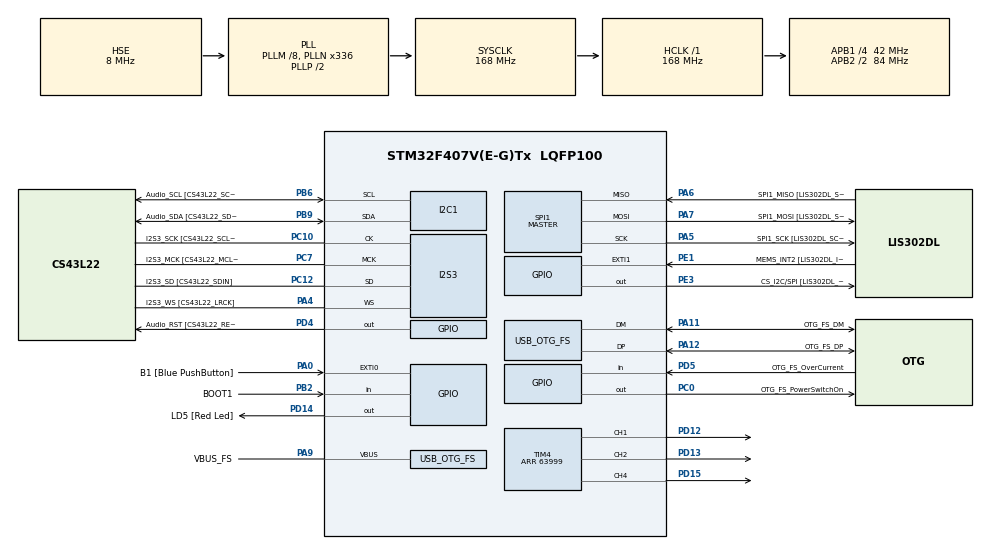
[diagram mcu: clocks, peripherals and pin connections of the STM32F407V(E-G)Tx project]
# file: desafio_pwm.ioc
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I2S3.AudioFreq-Half_Duplex_Master=I2S_AUDIOFREQ_96K
I2S3.ErrorAudioFreq=-2.34 %
I2S3.ErrorAudioFreq-Half_Duplex_Master=0.8 %
I2S3.FullDuplexMode=I2S_FULLDUPLEXMODE_DISABLE
I2S3.Instance=SPI$Index
I2S3.RealAudioFreq=93.75 KHz
I2S3.RealAudioFreq-Half_Duplex_Master=96.774 KHz
I2S3.VirtualMode=I2S_MODE_MASTER
Mcu.Family=STM32F4
Mcu.Name=STM32F407V(E-G)Tx
Mcu.Package=LQFP100
NVIC.OTG_FS_IRQn=true\:0\:0\:false\:false\:true\:true\:true\:true
NVIC.PriorityGroup=NVIC_PRIORITYGROUP_0
PA0-WKUP.GPIO_Label=B1 [Blue PushButton]
PA0-WKUP.GPIO_ModeDefaultEXTI=GPIO_MODE_EVT_RISING
PA0-WKUP.GPIO_PuPd=GPIO_NOPULL
PA0-WKUP.Signal=GPXTI0
PA10.GPIO_Label=OTG_FS_ID
PA10.GPIO_Mode=GPIO_MODE_AF_PP
PA10.GPIO_PuPd=GPIO_NOPULL
PA10.GPIO_Speed=GPIO_SPEED_FREQ_LOW
PA10.Signal=USB_OTG_FS_ID
PA11.GPIO_Label=OTG_FS_DM
PA11.GPIO_Mode=GPIO_MODE_AF_PP
PA11.GPIO_PuPd=GPIO_NOPULL
PA11.GPIO_Speed=GPIO_SPEED_FREQ_LOW
PA11.Mode=Host_Only
PA11.Signal=USB_OTG_FS_DM
PA12.GPIO_Label=OTG_FS_DP
PA12.GPIO_Mode=GPIO_MODE_AF_PP
PA12.GPIO_PuPd=GPIO_NOPULL
PA12.GPIO_Speed=GPIO_SPEED_FREQ_LOW
PA12.Mode=Host_Only
PA12.Signal=USB_OTG_FS_DP
PA13.GPIO_Label=SWDIO
PA13.Mode=Serial_Wire
PA13.Signal=SYS_JTMS-SWDIO
PA14.GPIO_Label=SWCLK
PA14.Mode=Serial_Wire
PA14.Signal=SYS_JTCK-SWCLK
PA4.GPIO_Label=I2S3_WS [CS43L22_LRCK]
PA4.GPIO_Mode=GPIO_MODE_AF_PP
PA4.GPIO_PuPd=GPIO_NOPULL
PA4.GPIO_Speed=GPIO_SPEED_FREQ_LOW
PA4.Mode=Half_Duplex_Master
PA4.Signal=I2S3_WS
PA5.GPIO_Label=SPI1_SCK [LIS302DL_SCL/SPC]
PA5.GPIO_Mode=GPIO_MODE_AF_PP
PA5.GPIO_PuPd=GPIO_NOPULL
PA5.GPIO_Speed=GPIO_SPEED_FREQ_LOW
PA5.Mode=Full_Duplex_Master
PA5.Signal=SPI1_SCK
PA6.GPIO_Label=SPI1_MISO [LIS302DL_SDO]
PA6.GPIO_Mode=GPIO_MODE_AF_PP
PA6.GPIO_PuPd=GPIO_NOPULL
PA6.GPIO_Speed=GPIO_SPEED_FREQ_LOW
PA6.Mode=Full_Duplex_Master
PA6.Signal=SPI1_MISO
PA7.GPIO_Label=SPI1_MOSI [LIS302DL_SDA/SDI/SDO]
PA7.GPIO_Mode=GPIO_MODE_AF_PP
PA7.GPIO_PuPd=GPIO_NOPULL
PA7.GPIO_Speed=GPIO_SPEED_FREQ_LOW
PA7.Mode=Full_Duplex_Master
PA7.Signal=SPI1_MOSI
PA9.GPIO_Label=VBUS_FS
PA9.GPIO_Mode=GPIO_MODE_INPUT
PA9.GPIO_PuPd=GPIO_NOPULL
PA9.Mode=Activate_VBUS
PA9.Signal=USB_OTG_FS_VBUS
PB10.GPIO_Label=CLK_IN [MP45DT02_CLK]
PB10.GPIO_Mode=GPIO_MODE_AF_PP
PB10.GPIO_PuPd=GPIO_NOPULL
PB10.GPIO_Speed=GPIO_SPEED_FREQ_LOW
PB10.Signal=I2S2_CK
PB2.GPIO_Label=BOOT1
PB2.GPIO_Mode=GPIO_MODE_INPUT
PB2.GPIO_PuPd=GPIO_NOPULL
PB2.Signal=GPIO_Input
PB3.GPIO_Label=SWO
PB3.Signal=SYS_JTDO-SWO
PB6.GPIO_Label=Audio_SCL [CS43L22_SCL]
PB6.GPIO_Mode=GPIO_MODE_AF_OD
PB6.GPIO_Pu=GPIO_PULLUP
PB6.GPIO_PuPd=GPIO_NOPULL
PB6.GPIO_Speed=GPIO_SPEED_FREQ_LOW
PB6.Mode=I2C
PB6.Signal=I2C1_SCL
PB9.GPIO_Label=Audio_SDA [CS43L22_SDA]
PB9.GPIO_Mode=GPIO_MODE_AF_OD
PB9.GPIO_Pu=GPIO_PULLUP
PB9.GPIO_PuPd=GPIO_NOPULL
PB9.GPIO_Speed=GPIO_SPEED_FREQ_LOW
PB9.Mode=I2C
PB9.Signal=I2C1_SDA
PC0.GPIO_Label=OTG_FS_PowerSwitchOn
PC0.GPIO_PuPd=GPIO_NOPULL
PC0.GPIO_Speed=GPIO_SPEED_FREQ_LOW
PC0.PinState=GPIO_PIN_SET
PC0.Signal=GPIO_Output
PC10.GPIO_Label=I2S3_SCK [CS43L22_SCLK]
PC10.GPIO_Mode=GPIO_MODE_AF_PP
PC10.GPIO_PuPd=GPIO_NOPULL
PC10.GPIO_Speed=GPIO_SPEED_FREQ_LOW
PC10.Mode=Half_Duplex_Master
PC10.Signal=I2S3_CK
PC12.GPIO_Label=I2S3_SD [CS43L22_SDIN]
PC12.GPIO_Mode=GPIO_MODE_AF_PP
PC12.GPIO_PuPd=GPIO_NOPULL
PC12.GPIO_Speed=GPIO_SPEED_FREQ_LOW
PC12.Mode=Half_Duplex_Master
PC12.Signal=I2S3_SD
PC14-OSC32_IN.GPIO_Label=PC14-OSC32_IN
PC14-OSC32_IN.Mode=LSE-External-Oscillator
PC14-OSC32_IN.Signal=RCC_OSC32_IN
PC15-OSC32_OUT.GPIO_Label=PC15-OSC32_OUT
PC15-OSC32_OUT.Mode=LSE-External-Oscillator
PC15-OSC32_OUT.Signal=RCC_OSC32_OUT
PC3.GPIO_Label=PDM_OUT [MP45DT02_DOUT]
PC3.GPIO_Mode=GPIO_MODE_AF_PP
PC3.GPIO_PuPd=GPIO_NOPULL
PC3.GPIO_Speed=GPIO_SPEED_FREQ_LOW
PC3.Signal=I2S2_SD
PC7.GPIO_Label=I2S3_MCK [CS43L22_MCLK]
PC7.GPIO_Mode=GPIO_MODE_AF_PP
PC7.GPIO_PuPd=GPIO_NOPULL
PC7.GPIO_Speed=GPIO_SPEED_FREQ_LOW
PC7.Mode=Master_Clock_Activated
PC7.Signal=I2S3_MCK
PD12.Signal=S_TIM4_CH1
PD13.Signal=S_TIM4_CH2
PD14.GPIO_Label=LD5 [Red Led]
PD14.GPIO_PuPd=GPIO_NOPULL
PD14.GPIO_Speed=GPIO_SPEED_FREQ_LOW
PD14.Signal=GPIO_Output
PD15.Signal=S_TIM4_CH4
PD4.GPIO_Label=Audio_RST [CS43L22_RESET]
PD4.GPIO_PuPd=GPIO_NOPULL
PD4.GPIO_Speed=GPIO_SPEED_FREQ_LOW
PD4.Signal=GPIO_Output
PD5.GPIO_Label=OTG_FS_OverCurrent
PD5.GPIO_Mode=GPIO_MODE_INPUT
PD5.GPIO_PuPd=GPIO_NOPULL
PD5.Signal=GPIO_Input
PE1.GPIO_Label=MEMS_INT2 [LIS302DL_INT2]
PE1.GPIO_ModeDefaultEXTI=GPIO_MODE_EVT_RISING
PE1.GPIO_PuPd=GPIO_NOPULL
PE1.Signal=GPXTI1
PE3.GPIO_Label=CS_I2C/SPI [LIS302DL_CS_I2C/SPI]
PE3.GPIO_PuPd=GPIO_NOPULL
PE3.GPIO_Speed=GPIO_SPEED_FREQ_LOW
PE3.Signal=GPIO_Output
PH0-OSC_IN.GPIO_Label=PH0-OSC_IN
PH0-OSC_IN.Mode=HSE-External-Oscillator
PH0-OSC_IN.Signal=RCC_OSC_IN
PH1-OSC_OUT.GPIO_Label=PH1-OSC_OUT
PH1-OSC_OUT.Mode=HSE-External-Oscillator
PH1-OSC_OUT.Signal=RCC_OSC_OUT
ProjectManager.HeapSize=0x200
ProjectManager.StackSize=0x400
ProjectManager.TargetToolchain=STM32CubeIDE
RCC.48MHZClocksFreq_Value=48000000
RCC.AHBFreq_Value=168000000
RCC.APB1CLKDivider=RCC_HCLK_DIV4
RCC.APB1Freq_Value=42000000
RCC.APB1TimFreq_Value=84000000
RCC.APB2CLKDivider=RCC_HCLK_DIV2
RCC.APB2Freq_Value=84000000
RCC.APB2TimFreq_Value=168000000
RCC.CortexFreq_Value=168000000
RCC.HCLKFreq_Value=168000000
RCC.HSE_VALUE=8000000
RCC.HSI_VALUE=16000000
RCC.PLLM=8
RCC.PLLN=336
RCC.PLLQ=7
RCC.SYSCLKFreq_VALUE=168000000
RCC.SYSCLKSource=RCC_SYSCLKSOURCE_PLLCLK
RCC.VCOOutputFreq_Value=336000000
SH.S_TIM4_CH1.0=TIM4_CH1,PWM Generation1 CH1
SH.S_TIM4_CH2.0=TIM4_CH2,PWM Generation2 CH2
SH.S_TIM4_CH4.0=TIM4_CH4,PWM Generation4 CH4
SPI1.BaudRatePrescaler-Full_Duplex_Master=SPI_BAUDRATEPRESCALER_2
SPI1.CalculateBaudRate-Full_Duplex_Master=42.0 MBits/s
SPI1.Direction=SPI_DIRECTION_2LINES
SPI1.Mode=SPI_MODE_MASTER
SPI1.Mode-Full_Duplex_Master=SPI_MODE_MASTER
SPI1.VirtualType=VM_MASTER
TIM4.Channel-PWM\ Generation1\ CH1=TIM_CHANNEL_1
TIM4.Channel-PWM\ Generation2\ CH2=TIM_CHANNEL_2
TIM4.Channel-PWM\ Generation4\ CH4=TIM_CHANNEL_4
TIM4.Period=63999
USB_HOST.BSP.number=1
USB_HOST.USBH_HandleTypeDef-CDC_FS=hUsbHostFS
USB_HOST.VirtualModeFS=Cdc
USB_HOST0.BSP.STBoard=false
USB_HOST0.BSP.api=Unknown
USB_HOST0.BSP.instance=PC0
USB_HOST0.BSP.ip=GPIO
USB_HOST0.BSP.mode=Output
USB_HOST0.BSP.name=Drive_VBUS_FS
USB_HOST0.BSP.solution=PC0
USB_OTG_FS.VirtualMode=Host_Only
USB_OTG_FS.phy_itface=HCD_PHY_EMBEDDED
VP_TIM4_VS_ClockSourceINT.Mode=Internal
VP_USB_HOST_VS_USB_HOST_CDC_FS.Mode=CDC_FS
board=STM32F407G-DISC1

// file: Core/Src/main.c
/* USER CODE BEGIN Header */
/**
 ******************************************************************************
 * @file           : main.c
 * @brief          : Main program body
 ******************************************************************************
 * @attention
 *
 * Copyright (c) 2025 STMicroelectronics.
 * All rights reserved.
 *
 * This software is licensed under terms that can be found in the LICENSE file
 * in the root directory of this software component.
 * If no LICENSE file comes with this software, it is provided AS-IS.
 *
 ******************************************************************************
 */
/* USER CODE END Header */
#include "main.h"
#include "usb_host.h"

/* USER CODE BEGIN PD */
#define TCAMBIO                                                                \
  20 // Tiempo en ms entre cambios de los ciclos de trabajo de las señales PWM
// Al definir TCAMBIO como 20 ms, se obtiene una duración total de 2 segundos
// para una transición completa(100 × 20 ms = 2 s)
#define VALCAMBIO                                                              \
  640 // Valor (1% en LSB de resolución de PWM) para los cambios de los ciclos
      // de trabajo
// pues resolución configurada para las señales PWM es de 64 000

/* USER CODE END PD */

I2C_HandleTypeDef hi2c1;

I2S_HandleTypeDef hi2s3;

SPI_HandleTypeDef hspi1;

TIM_HandleTypeDef htim4;

void SystemClock_Config(void);
static void MX_GPIO_Init(void);
static void MX_I2C1_Init(void);
static void MX_I2S3_Init(void);
static void MX_SPI1_Init(void);
static void MX_TIM4_Init(void);
void MX_USB_HOST_Process(void);

/* USER CODE BEGIN PFP */
// ACA LOS PROTOTIPOS
void inicio(void);
void transicion1(void);
void transicion2(void);
void transicion3(void);
void transicion4(void);
void transicion5(void);
void transicion6(void);

/* USER CODE END PFP */

int main(void) {

  /* MCU Configuration--------------------------------------------------------*/

  /* Reset of all peripherals, Initializes the Flash interface and the Systick.
   */
  HAL_Init();

  /* Configure the system clock */
  SystemClock_Config();

  /* Initialize all configured peripherals */
  MX_GPIO_Init();
  MX_I2C1_Init();
  MX_I2S3_Init();
  MX_SPI1_Init();
  MX_USB_HOST_Init();
  MX_TIM4_Init();
  /* USER CODE BEGIN 2 */
  // CONDICIONES INICIALES
  inicio(); // (amarillo al 100%)

  /* USER CODE END 2 */

  /* Infinite loop */
  while (1) {
    MX_USB_HOST_Process();

    /* USER CODE BEGIN 3 */
    transicion1(); // Aumenta rojo a 100%
    transicion2(); // Disminuye amarillo a 0%
    transicion3(); // Aumenta verde a 100%
    transicion4(); // Disminuye rojo a 0%
    transicion5(); // Aumenta amarillo a 100%
    transicion6(); // Disminuye verde a 0%
  }
  /* USER CODE END 3 */
}

void SystemClock_Config(void) {
  RCC_OscInitTypeDef RCC_OscInitStruct = {0};
  RCC_ClkInitTypeDef RCC_ClkInitStruct = {0};

  /** Configure the main internal regulator output voltage
   */
  __HAL_RCC_PWR_CLK_ENABLE();
  __HAL_PWR_VOLTAGESCALING_CONFIG(PWR_REGULATOR_VOLTAGE_SCALE1);

  /** Initializes the RCC Oscillators according to the specified parameters
   * in the RCC_OscInitTypeDef structure.
   */
  RCC_OscInitStruct.OscillatorType = RCC_OSCILLATORTYPE_HSE;
  RCC_OscInitStruct.HSEState = RCC_HSE_ON;
  RCC_OscInitStruct.PLL.PLLState = RCC_PLL_ON;
  RCC_OscInitStruct.PLL.PLLSource = RCC_PLLSOURCE_HSE;
  RCC_OscInitStruct.PLL.PLLM = 8;
  RCC_OscInitStruct.PLL.PLLN = 336;
  RCC_OscInitStruct.PLL.PLLP = RCC_PLLP_DIV2;
  RCC_OscInitStruct.PLL.PLLQ = 7;
  if (HAL_RCC_OscConfig(&RCC_OscInitStruct) != HAL_OK) {
    Error_Handler();
  }

  /** Initializes the CPU, AHB and APB buses clocks
   */
  RCC_ClkInitStruct.ClockType = RCC_CLOCKTYPE_HCLK | RCC_CLOCKTYPE_SYSCLK |
                                RCC_CLOCKTYPE_PCLK1 | RCC_CLOCKTYPE_PCLK2;
  RCC_ClkInitStruct.SYSCLKSource = RCC_SYSCLKSOURCE_PLLCLK;
  RCC_ClkInitStruct.AHBCLKDivider = RCC_SYSCLK_DIV1;
  RCC_ClkInitStruct.APB1CLKDivider = RCC_HCLK_DIV4;
  RCC_ClkInitStruct.APB2CLKDivider = RCC_HCLK_DIV2;

  if (HAL_RCC_ClockConfig(&RCC_ClkInitStruct, FLASH_LATENCY_5) != HAL_OK) {
    Error_Handler();
  }
}

static void MX_I2C1_Init(void) {

  hi2c1.Instance = I2C1;
  hi2c1.Init.ClockSpeed = 100000;
  hi2c1.Init.DutyCycle = I2C_DUTYCYCLE_2;
  hi2c1.Init.OwnAddress1 = 0;
  hi2c1.Init.AddressingMode = I2C_ADDRESSINGMODE_7BIT;
  hi2c1.Init.DualAddressMode = I2C_DUALADDRESS_DISABLE;
  hi2c1.Init.OwnAddress2 = 0;
  hi2c1.Init.GeneralCallMode = I2C_GENERALCALL_DISABLE;
  hi2c1.Init.NoStretchMode = I2C_NOSTRETCH_DISABLE;
  if (HAL_I2C_Init(&hi2c1) != HAL_OK) {
    Error_Handler();
  }
}

static void MX_I2S3_Init(void) {

  hi2s3.Instance = SPI3;
  hi2s3.Init.Mode = I2S_MODE_MASTER_TX;
  hi2s3.Init.Standard = I2S_STANDARD_PHILIPS;
  hi2s3.Init.DataFormat = I2S_DATAFORMAT_16B;
  hi2s3.Init.MCLKOutput = I2S_MCLKOUTPUT_ENABLE;
  hi2s3.Init.AudioFreq = I2S_AUDIOFREQ_96K;
  hi2s3.Init.CPOL = I2S_CPOL_LOW;
  hi2s3.Init.ClockSource = I2S_CLOCK_PLL;
  hi2s3.Init.FullDuplexMode = I2S_FULLDUPLEXMODE_DISABLE;
  if (HAL_I2S_Init(&hi2s3) != HAL_OK) {
    Error_Handler();
  }
}

static void MX_SPI1_Init(void) {

  /* SPI1 parameter configuration*/
  hspi1.Instance = SPI1;
  hspi1.Init.Mode = SPI_MODE_MASTER;
  hspi1.Init.Direction = SPI_DIRECTION_2LINES;
  hspi1.Init.DataSize = SPI_DATASIZE_8BIT;
  hspi1.Init.CLKPolarity = SPI_POLARITY_LOW;
  hspi1.Init.CLKPhase = SPI_PHASE_1EDGE;
  hspi1.Init.NSS = SPI_NSS_SOFT;
  hspi1.Init.BaudRatePrescaler = SPI_BAUDRATEPRESCALER_2;
  hspi1.Init.FirstBit = SPI_FIRSTBIT_MSB;
  hspi1.Init.TIMode = SPI_TIMODE_DISABLE;
  hspi1.Init.CRCCalculation = SPI_CRCCALCULATION_DISABLE;
  hspi1.Init.CRCPolynomial = 10;
  if (HAL_SPI_Init(&hspi1) != HAL_OK) {
    Error_Handler();
  }
}

static void MX_TIM4_Init(void) {

  TIM_ClockConfigTypeDef sClockSourceConfig = {0};
  TIM_MasterConfigTypeDef sMasterConfig = {0};
  TIM_OC_InitTypeDef sConfigOC = {0};

  htim4.Instance = TIM4;
  htim4.Init.Prescaler = 0;
  htim4.Init.CounterMode = TIM_COUNTERMODE_UP;
  htim4.Init.Period = 63999;
  htim4.Init.ClockDivision = TIM_CLOCKDIVISION_DIV1;
  htim4.Init.AutoReloadPreload = TIM_AUTORELOAD_PRELOAD_DISABLE;
  if (HAL_TIM_Base_Init(&htim4) != HAL_OK) {
    Error_Handler();
  }
  sClockSourceConfig.ClockSource = TIM_CLOCKSOURCE_INTERNAL;
  if (HAL_TIM_ConfigClockSource(&htim4, &sClockSourceConfig) != HAL_OK) {
    Error_Handler();
  }
  if (HAL_TIM_PWM_Init(&htim4) != HAL_OK) {
    Error_Handler();
  }
  sMasterConfig.MasterOutputTrigger = TIM_TRGO_RESET;
  sMasterConfig.MasterSlaveMode = TIM_MASTERSLAVEMODE_DISABLE;
  if (HAL_TIMEx_MasterConfigSynchronization(&htim4, &sMasterConfig) != HAL_OK) {
    Error_Handler();
  }
  sConfigOC.OCMode = TIM_OCMODE_PWM1;
  sConfigOC.Pulse = 0;
  sConfigOC.OCPolarity = TIM_OCPOLARITY_HIGH;
  sConfigOC.OCFastMode = TIM_OCFAST_DISABLE;
  if (HAL_TIM_PWM_ConfigChannel(&htim4, &sConfigOC, TIM_CHANNEL_1) != HAL_OK) {
    Error_Handler();
  }
  if (HAL_TIM_PWM_ConfigChannel(&htim4, &sConfigOC, TIM_CHANNEL_2) != HAL_OK) {
    Error_Handler();
  }
  if (HAL_TIM_PWM_ConfigChannel(&htim4, &sConfigOC, TIM_CHANNEL_4) != HAL_OK) {
    Error_Handler();
  }
  HAL_TIM_MspPostInit(&htim4);
}

static void MX_GPIO_Init(void) {
  GPIO_InitTypeDef GPIO_InitStruct = {0};

  /* GPIO Ports Clock Enable */
  __HAL_RCC_GPIOE_CLK_ENABLE();
  __HAL_RCC_GPIOC_CLK_ENABLE();
  __HAL_RCC_GPIOH_CLK_ENABLE();
  __HAL_RCC_GPIOA_CLK_ENABLE();
  __HAL_RCC_GPIOB_CLK_ENABLE();
  __HAL_RCC_GPIOD_CLK_ENABLE();

  /*Configure GPIO pin Output Level */
  HAL_GPIO_WritePin(CS_I2C_SPI_GPIO_Port, CS_I2C_SPI_Pin, GPIO_PIN_RESET);

  /*Configure GPIO pin Output Level */
  HAL_GPIO_WritePin(OTG_FS_PowerSwitchOn_GPIO_Port, OTG_FS_PowerSwitchOn_Pin,
                    GPIO_PIN_SET);

  /*Configure GPIO pin Output Level */
  HAL_GPIO_WritePin(GPIOD, LD5_Pin | Audio_RST_Pin, GPIO_PIN_RESET);

  /*Configure GPIO pin : CS_I2C_SPI_Pin */
  GPIO_InitStruct.Pin = CS_I2C_SPI_Pin;
  GPIO_InitStruct.Mode = GPIO_MODE_OUTPUT_PP;
  GPIO_InitStruct.Pull = GPIO_NOPULL;
  GPIO_InitStruct.Speed = GPIO_SPEED_FREQ_LOW;
  HAL_GPIO_Init(CS_I2C_SPI_GPIO_Port, &GPIO_InitStruct);

  /*Configure GPIO pin : OTG_FS_PowerSwitchOn_Pin */
  GPIO_InitStruct.Pin = OTG_FS_PowerSwitchOn_Pin;
  GPIO_InitStruct.Mode = GPIO_MODE_OUTPUT_PP;
  GPIO_InitStruct.Pull = GPIO_NOPULL;
  GPIO_InitStruct.Speed = GPIO_SPEED_FREQ_LOW;
  HAL_GPIO_Init(OTG_FS_PowerSwitchOn_GPIO_Port, &GPIO_InitStruct);

  /*Configure GPIO pin : PDM_OUT_Pin */
  GPIO_InitStruct.Pin = PDM_OUT_Pin;
  GPIO_InitStruct.Mode = GPIO_MODE_AF_PP;
  GPIO_InitStruct.Pull = GPIO_NOPULL;
  GPIO_InitStruct.Speed = GPIO_SPEED_FREQ_LOW;
  GPIO_InitStruct.Alternate = GPIO_AF5_SPI2;
  HAL_GPIO_Init(PDM_OUT_GPIO_Port, &GPIO_InitStruct);

  /*Configure GPIO pin : B1_Pin */
  GPIO_InitStruct.Pin = B1_Pin;
  GPIO_InitStruct.Mode = GPIO_MODE_EVT_RISING;
  GPIO_InitStruct.Pull = GPIO_NOPULL;
  HAL_GPIO_Init(B1_GPIO_Port, &GPIO_InitStruct);

  /*Configure GPIO pin : BOOT1_Pin */
  GPIO_InitStruct.Pin = BOOT1_Pin;
  GPIO_InitStruct.Mode = GPIO_MODE_INPUT;
  GPIO_InitStruct.Pull = GPIO_NOPULL;
  HAL_GPIO_Init(BOOT1_GPIO_Port, &GPIO_InitStruct);

  /*Configure GPIO pin : CLK_IN_Pin */
  GPIO_InitStruct.Pin = CLK_IN_Pin;
  GPIO_InitStruct.Mode = GPIO_MODE_AF_PP;
  GPIO_InitStruct.Pull = GPIO_NOPULL;
  GPIO_InitStruct.Speed = GPIO_SPEED_FREQ_LOW;
  GPIO_InitStruct.Alternate = GPIO_AF5_SPI2;
  HAL_GPIO_Init(CLK_IN_GPIO_Port, &GPIO_InitStruct);

  /*Configure GPIO pins : LD5_Pin Audio_RST_Pin */
  GPIO_InitStruct.Pin = LD5_Pin | Audio_RST_Pin;
  GPIO_InitStruct.Mode = GPIO_MODE_OUTPUT_PP;
  GPIO_InitStruct.Pull = GPIO_NOPULL;
  GPIO_InitStruct.Speed = GPIO_SPEED_FREQ_LOW;
  HAL_GPIO_Init(GPIOD, &GPIO_InitStruct);

  /*Configure GPIO pin : OTG_FS_OverCurrent_Pin */
  GPIO_InitStruct.Pin = OTG_FS_OverCurrent_Pin;
  GPIO_InitStruct.Mode = GPIO_MODE_INPUT;
  GPIO_InitStruct.Pull = GPIO_NOPULL;
  HAL_GPIO_Init(OTG_FS_OverCurrent_GPIO_Port, &GPIO_InitStruct);

  /*Configure GPIO pin : MEMS_INT2_Pin */
  GPIO_InitStruct.Pin = MEMS_INT2_Pin;
  GPIO_InitStruct.Mode = GPIO_MODE_EVT_RISING;
  GPIO_InitStruct.Pull = GPIO_NOPULL;
  HAL_GPIO_Init(MEMS_INT2_GPIO_Port, &GPIO_InitStruct);

}

/* USER CODE BEGIN 4 */

/*------------- Inicio -------------*/
void inicio(void) {
  // Obtenemos el valor máximo de ciclo de trabajo
  uint16_t ciclomaximo = TIM4->ARR;

  // Iniciamos con LED amarillo al 100%
  TIM4->CCR4 = ciclomaximo; // LED amarillo al 100%

  // Arrancamos los PWM
  HAL_TIM_PWM_Start(&htim4, TIM_CHANNEL_1); // Verde
  HAL_TIM_PWM_Start(&htim4, TIM_CHANNEL_2); // Rojo
  HAL_TIM_PWM_Start(&htim4, TIM_CHANNEL_4); // Amarillo
}

/*------------- Transición 1: Aumenta rojo a 100% -------------*/
void transicion1(void) {
  uint16_t ciclomaximo = TIM4->ARR;
  uint16_t ciclorojo = TIM4->CCR2;

  do {
    HAL_Delay(TCAMBIO);
    ciclorojo = (ciclomaximo - ciclorojo > VALCAMBIO) ? ciclorojo + VALCAMBIO
                                                      : ciclomaximo;
    TIM4->CCR2 = ciclorojo;
  } while (ciclorojo < ciclomaximo);
}

/*------------- Transición 2: Disminuye amarillo a 0% -------------*/
void transicion2(void) {
  uint16_t cicloamarillo = TIM4->CCR4;

  do {
    HAL_Delay(TCAMBIO);
    cicloamarillo = (cicloamarillo > VALCAMBIO) ? cicloamarillo - VALCAMBIO : 0;
    TIM4->CCR4 = cicloamarillo;
  } while (cicloamarillo > 0);
}

/*------------- Transición 3: Aumenta verde a 100% -------------*/
void transicion3(void) {
  uint16_t ciclomaximo = TIM4->ARR;
  uint16_t cicloverde = TIM4->CCR1;

  do {
    HAL_Delay(TCAMBIO);
    cicloverde = (ciclomaximo - cicloverde > VALCAMBIO) ? cicloverde + VALCAMBIO
                                                        : ciclomaximo;
    TIM4->CCR1 = cicloverde;
  } while (cicloverde < ciclomaximo);
}

/*------------- Transición 4: Disminuye rojo a 0% -------------*/
void transicion4(void) {
  uint16_t ciclorojo = TIM4->CCR2;

  do {
    HAL_Delay(TCAMBIO);
    ciclorojo = (ciclorojo > VALCAMBIO) ? ciclorojo - VALCAMBIO : 0;
    TIM4->CCR2 = ciclorojo;
  } while (ciclorojo > 0);
}

/*------------- Transición 5: Aumenta amarillo a 100% -------------*/
void transicion5(void) {
  uint16_t ciclomaximo = TIM4->ARR;
  uint16_t cicloamarillo = TIM4->CCR4;

  do {
    HAL_Delay(TCAMBIO);
    cicloamarillo = (ciclomaximo - cicloamarillo > VALCAMBIO)
                        ? cicloamarillo + VALCAMBIO
                        : ciclomaximo;
    TIM4->CCR4 = cicloamarillo;
  } while (cicloamarillo < ciclomaximo);
}

/*------------- Transición 6: Disminuye verde a 0% -------------*/
void transicion6(void) {
  uint16_t cicloverde = TIM4->CCR1;

  do {
    HAL_Delay(TCAMBIO);
    cicloverde = (cicloverde > VALCAMBIO) ? cicloverde - VALCAMBIO : 0;
    TIM4->CCR1 = cicloverde;
  } while (cicloverde > 0);
}

/* USER CODE END 4 */

void Error_Handler(void) {
  __disable_irq();
  while (1) {
  }
}

#ifdef USE_FULL_ASSERT
/**
 * @brief  Reports the name of the source file and the source line number
 *         where the assert_param error has occurred.
 * @param  file: pointer to the source file name
 * @param  line: assert_param error line source number
 * @retval None
 */
void assert_failed(uint8_t *file, uint32_t line) {
  /* USER CODE BEGIN 6 */
  /* User can add his own implementation to report the file name and line
     number, ex: printf("Wrong parameters value: file %s on line %d\r\n", file,
     line) */
  /* USER CODE END 6 */
}
#endif /* USE_FULL_ASSERT */
